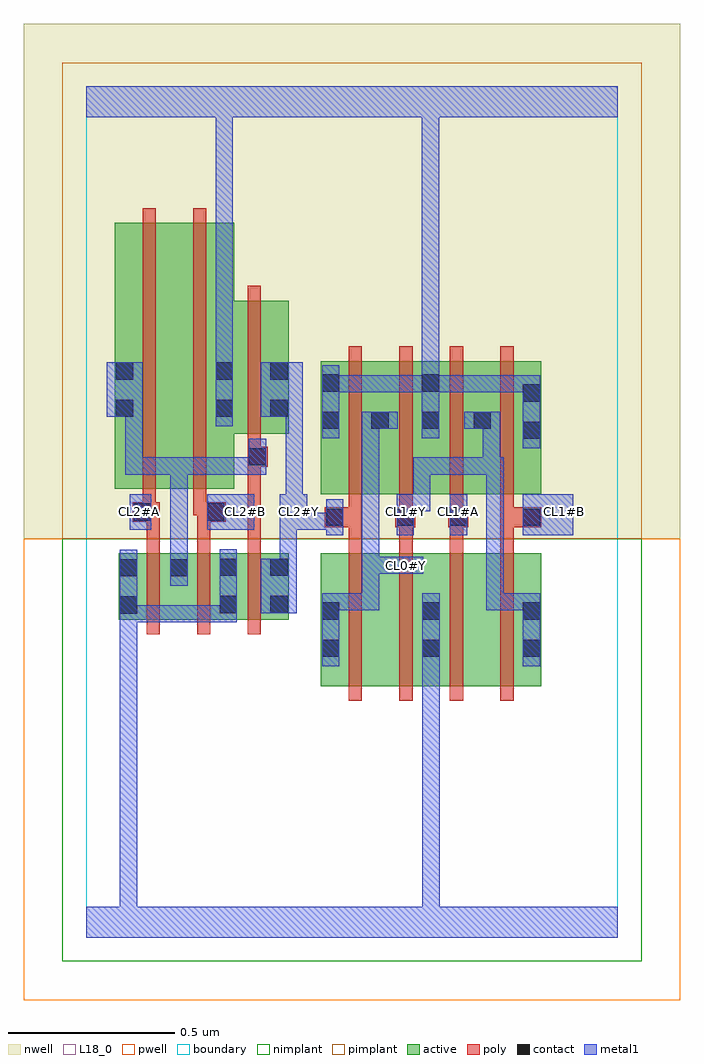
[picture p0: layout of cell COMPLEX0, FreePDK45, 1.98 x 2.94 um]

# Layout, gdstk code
import gdstk
lib = gdstk.Library(unit=1e-6, precision=1e-09)
def R(c, l, rs):  # rectangles x0, y0, x1, y1
    for r in rs: c.add(gdstk.rectangle(r[:2], r[2:], *l))
def A(c, l, x, y, w, h, nx, ny, dx, dy):  # array of equal rectangles
    R(c, l, [(x+i*dx, y+j*dy, x+i*dx+w, y+j*dy+h) for i in range(nx) for j in range(ny)])
active = (1, 0)
pwell = (2, 0)
nwell = (3, 0)
nimplant = (4, 0)
pimplant = (5, 0)
poly = (9, 0)
contact = (10, 0)
metal1 = (11, 0)
L18_0 = (18, 0)
boundary = (235, 0)

complex0 = lib.new_cell('COMPLEX0')
A(complex0, active, 0.706, 0.756, 0.06, 0.4, 3, 1, 0.302, 0)
R(complex0, active, [(0.706,0.756,0.886,1.156), (0.886,0.756,1.068,1.156), (1.008,0.756,1.19,1.156), (1.19,0.756,1.37,1.156), (0.098,0.956,0.158,1.156), (0.098,0.956,0.31,1.156), (0.25,0.956,0.31,1.156), (0.25,0.956,0.458,1.156), (0.398,0.956,0.61,1.156), (0.398,0.956,0.458,1.144), (0.55,0.956,0.61,1.156), (0.706,1.334,0.766,1.734), (0.706,1.334,0.914,1.734), (0.854,1.334,0.914,1.644), (0.854,1.334,1.066,1.734), (1.006,1.334,1.222,1.734), (1.006,1.334,1.066,1.698), (1.162,1.334,1.37,1.734), (1.162,1.334,1.222,1.644), (1.31,1.334,1.37,1.734), (0.086,1.35,0.266,2.15), (0.086,1.35,0.146,2.15), (0.266,1.35,0.446,2.15), (0.386,1.516,0.61,1.916), (0.55,1.516,0.61,1.916), (0.386,1.562,0.446,1.734)])
R(complex0, pwell, [(-0.188,-0.188,1.788,1.2)])
R(complex0, nwell, [(-0.188,1.2,1.788,2.748)])
R(complex0, nimplant, [(-0.072,-0.072,1.672,1.2)])
R(complex0, pimplant, [(-0.072,1.2,1.672,2.632)])
A(complex0, poly, 0.79, 0.712, 0.04, 0.488, 4, 2, 0.152, 0.578)
A(complex0, poly, 0.182, 0.912, 0.04, 0.288, 3, 1, 0.152, 0)
A(complex0, poly, 0.79, 1.16, 0.04, 0.114, 4, 1, 0.152, 0)
A(complex0, poly, 0.79, 1.254, 0.04, 0.076, 4, 1, 0.152, 0)
R(complex0, poly, [(0.182,1.16,0.222,1.29), (0.334,1.16,0.374,1.29), (0.486,1.16,0.526,1.456), (0.718,1.234,0.83,1.294), (0.93,1.234,0.99,1.294), (0.942,1.234,0.982,1.274), (0.942,1.234,0.982,1.274), (1.09,1.234,1.15,1.294), (1.246,1.234,1.37,1.294), (0.14,1.25,0.222,1.31), (0.334,1.25,0.42,1.31), (0.79,1.254,0.83,1.294), (0.79,1.254,0.83,1.294), (1.094,1.254,1.134,1.294), (1.094,1.254,1.134,1.294), (1.246,1.254,1.286,1.294), (1.246,1.254,1.286,1.294), (0.17,1.27,0.21,1.346), (0.17,1.27,0.21,1.31), (0.17,1.27,0.21,1.31), (0.322,1.27,0.362,1.346), (0.322,1.27,0.374,1.31), (0.334,1.27,0.374,1.31), (0.17,1.306,0.21,2.194), (0.322,1.306,0.362,2.194), (0.486,1.416,0.526,1.456), (0.486,1.416,0.526,1.456), (0.486,1.416,0.546,1.476), (0.486,1.436,0.526,1.512), (0.486,1.472,0.526,1.96)])
A(complex0, contact, 0.71, 0.844, 0.052, 0.052, 3, 2, 0.302, 0.112)
R(complex0, contact, [(0.102,0.974,0.154,1.026), (0.402,0.976,0.454,1.028), (0.554,0.976,0.606,1.028), (0.102,1.086,0.154,1.138), (0.254,1.086,0.306,1.138), (0.402,1.088,0.454,1.14), (0.554,1.088,0.606,1.14), (0.722,1.238,0.774,1.29), (0.934,1.238,0.986,1.29), (1.094,1.238,1.146,1.29), (1.314,1.238,1.366,1.29), (0.144,1.254,0.196,1.306), (0.364,1.254,0.416,1.306), (0.49,1.42,0.542,1.472), (1.314,1.5,1.366,1.552), (0.71,1.53,0.762,1.582), (0.858,1.53,0.91,1.582), (1.01,1.53,1.062,1.582), (1.166,1.53,1.218,1.582), (0.09,1.566,0.142,1.618), (0.39,1.566,0.442,1.618), (0.554,1.566,0.606,1.618), (1.314,1.612,1.366,1.664), (0.71,1.642,0.762,1.694), (1.01,1.642,1.062,1.694), (0.09,1.678,0.142,1.73), (0.39,1.678,0.442,1.73), (0.554,1.678,0.606,1.73)])
A(complex0, metal1, 0.71, 0.816, 0.052, 0.22, 3, 1, 0.302, 0)
R(complex0, metal1, [(0,0,1.6,0.092), (0.102,0.04,0.154,0.092), (0.102,0.04,0.154,0.092), (0.102,0.04,0.154,0.092), (0.102,0.04,0.154,0.092), (0.102,0.04,0.154,0.092), (0.102,0.04,0.154,0.092), (0.102,0.04,0.154,0.092), (0.102,0.04,0.154,0.092), (0.102,0.04,0.154,0.998), (1.012,0.04,1.064,0.092), (1.012,0.04,1.064,0.092), (1.012,0.04,1.064,0.092), (1.012,0.04,1.064,0.092), (1.012,0.04,1.064,0.092), (1.012,0.04,1.064,0.092), (1.012,0.04,1.064,0.092), (1.012,0.04,1.064,0.092), (1.012,0.04,1.064,0.092), (1.012,0.04,1.064,0.092), (1.012,0.04,1.064,0.868), (1.012,0.816,1.064,0.868), (1.012,0.816,1.064,0.868), (0.102,0.946,0.154,0.998), (0.102,0.946,0.154,0.998), (0.102,0.946,0.154,0.998), (0.102,0.946,0.154,0.998), (0.102,0.946,0.154,0.998), (0.102,0.946,0.154,0.998), (0.102,0.946,0.154,0.998), (0.102,0.946,0.154,0.998), (0.102,0.946,0.154,1.166), (0.102,0.948,0.154,1), (0.102,0.948,0.154,1), (0.102,0.948,0.306,1), (0.254,0.948,0.306,1), (0.254,0.948,0.306,1), (0.254,0.948,0.306,1), (0.254,0.948,0.454,1), (0.402,0.948,0.454,1.168), (0.526,0.976,0.634,1.14), (0.71,0.984,0.876,1.036), (0.824,0.984,0.876,1.036), (0.824,0.984,0.882,1.036), (0.83,0.984,0.882,1.036), (0.83,0.984,0.882,1.146), (1.204,0.984,1.256,1.036), (1.204,0.984,1.366,1.036), (1.204,0.984,1.256,1.444), (1.314,0.984,1.366,1.036), (1.314,0.984,1.366,1.036), (0.254,1.058,0.306,1.166), (0.582,1.088,0.634,1.278), (0.83,1.094,0.882,1.146), (0.83,1.094,0.882,1.146), (0.83,1.094,0.882,1.582), (0.83,1.094,1.014,1.146), (0.254,1.114,0.306,1.444), (0.722,1.21,0.774,1.318), (0.934,1.21,0.986,1.334), (1.094,1.21,1.146,1.334), (1.314,1.21,1.466,1.334), (0.132,1.226,0.196,1.334), (0.364,1.226,0.506,1.334), (0.582,1.226,0.666,1.334), (0.614,1.226,0.666,1.278), (0.614,1.226,0.666,1.278), (0.614,1.226,0.774,1.278), (0.6,1.282,0.652,1.334), (0.6,1.282,0.652,1.334), (0.6,1.282,0.652,1.618), (0.934,1.282,1.036,1.334), (0.984,1.282,1.036,1.444), (0.118,1.392,0.17,1.444), (0.118,1.392,0.17,1.444), (0.118,1.392,0.17,1.444), (0.118,1.392,0.306,1.444), (0.118,1.392,0.17,1.618), (0.254,1.392,0.306,1.444), (0.254,1.392,0.306,1.444), (0.254,1.392,0.306,1.444), (0.254,1.392,0.306,1.444), (0.254,1.392,0.306,1.444), (0.254,1.392,0.468,1.444), (0.416,1.392,0.468,1.444), (0.416,1.392,0.542,1.444), (0.49,1.392,0.542,1.5), (0.984,1.392,1.246,1.444), (1.194,1.392,1.246,1.444), (1.194,1.392,1.246,1.444), (1.194,1.392,1.246,1.582), (1.194,1.392,1.256,1.444), (1.204,1.392,1.256,1.444), (1.204,1.392,1.256,1.444), (1.314,1.472,1.366,1.692), (0.71,1.502,0.762,1.722), (1.01,1.502,1.062,1.722), (0.83,1.53,0.938,1.582), (1.138,1.53,1.246,1.582), (0.39,1.538,0.442,1.758), (0.062,1.566,0.17,1.73), (0.526,1.566,0.652,1.73), (0.71,1.64,0.876,1.692), (0.824,1.64,0.876,1.692), (0.824,1.64,0.876,1.692), (0.824,1.64,0.876,1.692), (0.824,1.64,0.986,1.692), (0.934,1.64,0.986,1.692), (0.934,1.64,1.062,1.692), (1.01,1.64,1.256,1.692), (1.204,1.64,1.256,1.692), (1.204,1.64,1.256,1.692), (1.204,1.64,1.256,1.692), (1.204,1.64,1.366,1.692), (1.314,1.64,1.366,1.692), (1.314,1.64,1.366,1.692), (1.01,1.67,1.062,1.722), (1.01,1.67,1.062,1.722), (1.01,1.67,1.062,2.52), (0.39,1.706,0.442,2.52), (0,2.468,1.6,2.56), (0.39,2.468,0.442,2.52), (0.39,2.468,0.442,2.52), (0.39,2.468,0.442,2.52), (0.39,2.468,0.442,2.52), (0.39,2.468,0.442,2.52), (0.39,2.468,0.442,2.52), (0.39,2.468,0.442,2.52), (0.39,2.468,0.442,2.52), (1.01,2.468,1.062,2.52), (1.01,2.468,1.062,2.52), (1.01,2.468,1.062,2.52), (1.01,2.468,1.062,2.52), (1.01,2.468,1.062,2.52), (1.01,2.468,1.062,2.52), (1.01,2.468,1.062,2.52), (1.01,2.468,1.062,2.52), (1.01,2.468,1.062,2.52), (1.01,2.468,1.062,2.52), (1.01,2.468,1.062,2.52), (1.01,2.468,1.062,2.52), (1.01,2.468,1.062,2.52), (1.01,2.468,1.062,2.52)])
A(complex0, L18_0, 0.71, 0.816, 0.052, 0.22, 3, 1, 0.302, 0)
R(complex0, L18_0, [(0,0,1.6,0.092), (0.102,0.04,0.154,0.092), (0.102,0.04,0.154,0.092), (0.102,0.04,0.154,0.092), (0.102,0.04,0.154,0.092), (0.102,0.04,0.154,0.092), (0.102,0.04,0.154,0.092), (0.102,0.04,0.154,0.092), (0.102,0.04,0.154,0.092), (0.102,0.04,0.154,0.998), (1.012,0.04,1.064,0.092), (1.012,0.04,1.064,0.092), (1.012,0.04,1.064,0.092), (1.012,0.04,1.064,0.092), (1.012,0.04,1.064,0.092), (1.012,0.04,1.064,0.092), (1.012,0.04,1.064,0.092), (1.012,0.04,1.064,0.092), (1.012,0.04,1.064,0.092), (1.012,0.04,1.064,0.092), (1.012,0.04,1.064,0.868), (1.012,0.816,1.064,0.868), (1.012,0.816,1.064,0.868), (0.102,0.946,0.154,0.998), (0.102,0.946,0.154,0.998), (0.102,0.946,0.154,0.998), (0.102,0.946,0.154,0.998), (0.102,0.946,0.154,0.998), (0.102,0.946,0.154,0.998), (0.102,0.946,0.154,0.998), (0.102,0.946,0.154,0.998), (0.102,0.946,0.154,1.166), (0.102,0.948,0.154,1), (0.102,0.948,0.154,1), (0.102,0.948,0.306,1), (0.254,0.948,0.306,1), (0.254,0.948,0.306,1), (0.254,0.948,0.306,1), (0.254,0.948,0.454,1), (0.402,0.948,0.454,1.168), (0.526,0.976,0.634,1.14), (0.71,0.984,0.876,1.036), (0.824,0.984,0.876,1.036), (0.824,0.984,0.882,1.036), (0.83,0.984,0.882,1.036), (0.83,0.984,0.882,1.146), (1.204,0.984,1.256,1.036), (1.204,0.984,1.366,1.036), (1.204,0.984,1.256,1.444), (1.314,0.984,1.366,1.036), (1.314,0.984,1.366,1.036), (0.582,1.088,0.634,1.278), (0.83,1.094,0.882,1.146), (0.83,1.094,0.882,1.146), (0.83,1.094,1.014,1.146), (0.83,1.094,0.882,1.582), (0.934,1.094,0.986,1.146), (0.722,1.21,0.774,1.318), (0.934,1.21,0.986,1.334), (1.094,1.21,1.146,1.334), (1.314,1.21,1.466,1.334), (0.132,1.226,0.196,1.334), (0.364,1.226,0.506,1.334), (0.582,1.226,0.666,1.334), (0.614,1.226,0.666,1.278), (0.614,1.226,0.666,1.278), (0.614,1.226,0.774,1.278), (0.134,1.254,0.186,1.306), (0.454,1.254,0.506,1.306), (0.614,1.254,0.666,1.306), (0.934,1.254,0.986,1.306), (1.094,1.254,1.146,1.306), (1.414,1.254,1.466,1.306), (0.6,1.282,0.652,1.334), (0.6,1.282,0.652,1.334), (0.6,1.282,0.652,1.618), (0.934,1.282,1.036,1.334), (0.984,1.282,1.036,1.444), (0.984,1.392,1.246,1.444), (1.194,1.392,1.246,1.444), (1.194,1.392,1.246,1.444), (1.194,1.392,1.246,1.582), (1.194,1.392,1.256,1.444), (1.204,1.392,1.256,1.444), (1.204,1.392,1.256,1.444), (1.314,1.472,1.366,1.692), (0.71,1.502,0.762,1.722), (1.01,1.502,1.062,1.722), (0.83,1.53,0.938,1.582), (1.138,1.53,1.246,1.582), (0.39,1.538,0.442,1.758), (0.526,1.566,0.652,1.73), (0.71,1.64,0.876,1.692), (0.824,1.64,0.876,1.692), (0.824,1.64,0.876,1.692), (0.824,1.64,0.876,1.692), (0.824,1.64,0.986,1.692), (0.934,1.64,0.986,1.692), (0.934,1.64,1.062,1.692), (1.01,1.64,1.256,1.692), (1.204,1.64,1.256,1.692), (1.204,1.64,1.256,1.692), (1.204,1.64,1.256,1.692), (1.204,1.64,1.366,1.692), (1.314,1.64,1.366,1.692), (1.314,1.64,1.366,1.692), (1.01,1.67,1.062,1.722), (1.01,1.67,1.062,1.722), (1.01,1.67,1.062,2.52), (0.39,1.706,0.442,2.52), (0,2.468,1.6,2.56), (0.39,2.468,0.442,2.52), (0.39,2.468,0.442,2.52), (0.39,2.468,0.442,2.52), (0.39,2.468,0.442,2.52), (0.39,2.468,0.442,2.52), (0.39,2.468,0.442,2.52), (0.39,2.468,0.442,2.52), (0.39,2.468,0.442,2.52), (1.01,2.468,1.062,2.52), (1.01,2.468,1.062,2.52), (1.01,2.468,1.062,2.52), (1.01,2.468,1.062,2.52), (1.01,2.468,1.062,2.52), (1.01,2.468,1.062,2.52), (1.01,2.468,1.062,2.52), (1.01,2.468,1.062,2.52), (1.01,2.468,1.062,2.52), (1.01,2.468,1.062,2.52), (1.01,2.468,1.062,2.52), (1.01,2.468,1.062,2.52), (1.01,2.468,1.062,2.52), (1.01,2.468,1.062,2.52)])
R(complex0, boundary, [(0,0,1.6,2.56)])
complex0.add(gdstk.Label('CL0#Y', (0.96,1.12), layer=11, texttype=0))
complex0.add(gdstk.Label('CL1#A', (1.12,1.28), layer=11, texttype=0))
complex0.add(gdstk.Label('CL1#B', (1.44,1.28), layer=11, texttype=0))
complex0.add(gdstk.Label('CL1#Y', (0.96,1.28), layer=11, texttype=0))
complex0.add(gdstk.Label('CL2#A', (0.16,1.28), layer=11, texttype=0))
complex0.add(gdstk.Label('CL2#B', (0.48,1.28), layer=11, texttype=0))
complex0.add(gdstk.Label('CL2#Y', (0.64,1.28), layer=11, texttype=0))

lib.write_gds('COMPLEX0.gds')
